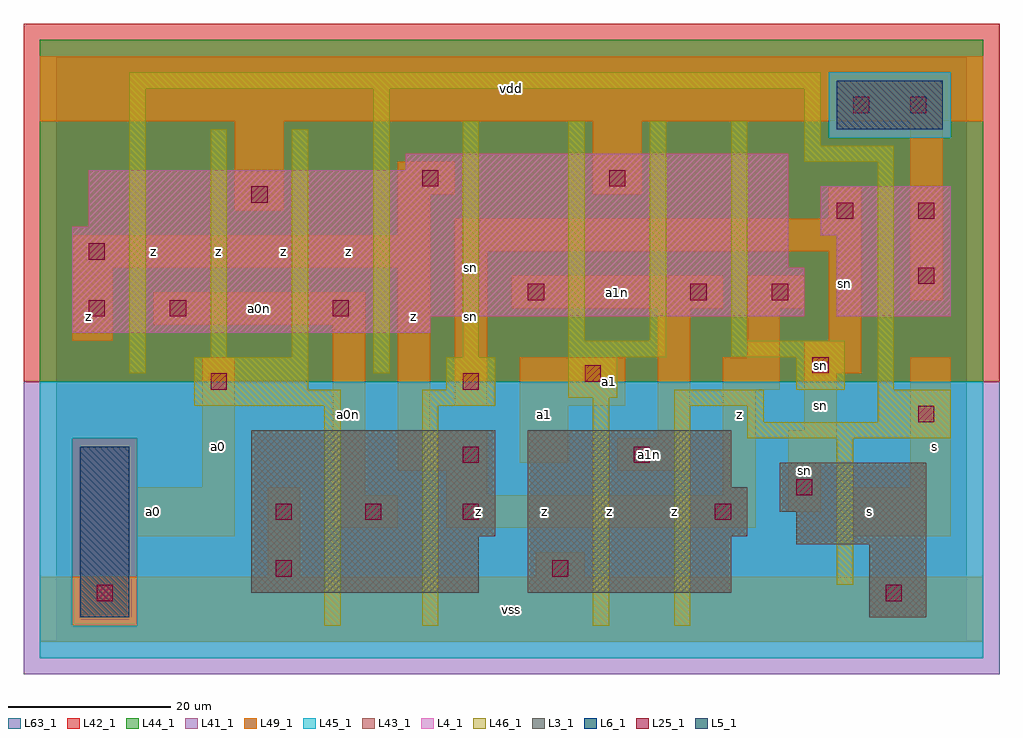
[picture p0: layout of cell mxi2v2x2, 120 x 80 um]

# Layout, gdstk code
import gdstk
lib = gdstk.Library(unit=1e-6, precision=1e-09)
def R(c, l, rs):  # rectangles x0, y0, x1, y1
    for r in rs: c.add(gdstk.rectangle(r[:2], r[2:], *l))
def A(c, l, x, y, w, h, nx, ny, dx, dy):  # array of equal rectangles
    R(c, l, [(x+i*dx, y+j*dy, x+i*dx+w, y+j*dy+h) for i in range(nx) for j in range(ny)])
L3_1 = (3, 1)
L4_1 = (4, 1)
L5_1 = (5, 1)
L6_1 = (6, 1)
L25_1 = (25, 1)
L41_1 = (41, 1)
L42_1 = (42, 1)
L43_1 = (43, 1)
L44_1 = (44, 1)
L45_1 = (45, 1)
L46_1 = (46, 1)
L49_1 = (49, 1)
L63_1 = (63, 1)

mxi2v2x2 = lib.new_cell('mxi2v2x2')
R(mxi2v2x2, L3_1, [(100,3,107,12), (24,6,52,13), (58,6,83,13), (91,12,107,16), (24,13,54,26), (58,13,85,19), (89,16,107,22), (58,19,83,26)])
R(mxi2v2x2, L4_1, [(2,38,46,40), (2,40,92,46), (96,40,110,50), (2,46,90,51), (94,50,110,56), (4,51,90,58), (43,58,90,60)])
R(mxi2v2x2, L5_1, [(96,63,109,69)])
R(mxi2v2x2, L6_1, [(3,3,9,24), (3,3,9,24)])
R(mxi2v2x2, L25_1, [(5,5,7,7), (102,5,104,7), (27,8,29,10), (61,8,63,10), (27,15,29,17), (38,15,40,17), (50,15,52,17), (81,15,83,17), (91,18,93,20), (50,22,52,24), (71,22,73,24), (106,27,108,29), (19,31,21,33), (50,31,52,33), (65,32,67,34), (93,33,95,35), (4,40,6,42), (14,40,16,42), (34,40,36,42), (58,42,60,44), (78,42,80,44), (88,42,90,44), (106,44,108,46), (4,47,6,49), (96,52,98,54), (106,52,108,54), (24,54,26,56), (45,56,47,58), (68,56,70,58), (98,65,100,67), (105,65,107,67)])
R(mxi2v2x2, L41_1, [(-4,-4,116,32)])
R(mxi2v2x2, L42_1, [(-4,32,116,76)])
R(mxi2v2x2, L43_1, [(3,3,9,24), (100,3,107,12), (24,6,52,13), (58,6,83,13), (91,12,107,16), (24,13,54,26), (58,13,85,19), (89,16,107,22), (58,19,83,26), (2,38,46,40), (2,40,92,46), (96,40,110,50), (2,46,90,51), (94,50,110,56), (4,51,90,58), (43,58,90,60), (96,63,109,69)])
R(mxi2v2x2, L44_1, [(2,2,10,25), (-2,32,114,62), (-2,62,95,70), (110,62,114,70), (-2,70,114,74)])
R(mxi2v2x2, L45_1, [(-2,-2,114,2), (-2,2,2,25), (10,2,114,25), (-2,25,114,32), (95,62,110,70)])
A(mxi2v2x2, L46_1, 63, 37, 2, 27, 3, 1, 10, 0)
R(mxi2v2x2, L46_1, [(33,2,35,29), (45,2,47,29), (66,2,68,30), (76,2,78,29), (96,7,98,25), (85,25,110,27), (85,27,87,29), (101,27,110,31), (17,29,35,31), (45,29,54,31), (76,29,87,31), (63,30,69,35), (17,31,31,35), (48,31,54,35), (91,31,97,35), (101,31,103,59), (9,33,11,68), (39,33,41,68), (19,35,21,63), (29,35,31,63), (50,35,52,64), (63,35,75,37), (83,35,97,37), (92,59,103,61), (92,61,94,68), (9,68,94,70)])
R(mxi2v2x2, L49_1, [(-2,0,114,8), (26,8,30,19), (59,8,65,11), (10,13,22,19), (98,13,110,19), (34,14,42,18), (48,14,86,18), (90,16,94,22), (34,18,38,39), (48,18,53,21), (82,18,86,31), (18,19,22,35), (105,19,110,35), (42,21,53,26), (69,21,78,25), (57,22,63,29), (90,22,96,26), (74,25,78,41), (42,26,46,46), (92,26,96,33), (49,29,53,48), (57,29,70,35), (82,31,89,35), (92,33,99,37), (85,35,89,41), (2,37,7,46), (95,37,99,48), (12,39,38,43), (56,41,82,45), (85,41,92,45), (105,42,109,64), (2,46,46,50), (49,48,99,52), (42,50,46,55), (95,52,99,56), (22,53,28,64), (42,55,49,59), (66,55,72,64), (-2,64,114,72)])
R(mxi2v2x2, L63_1, [(0,0,112,72)])
mxi2v2x2.add(gdstk.Label('sn', (51,46), layer=46, texttype=1))
mxi2v2x2.add(gdstk.Label('sn', (94,34), layer=49, texttype=1))
mxi2v2x2.add(gdstk.Label('a0', (12,16), layer=49, texttype=1))
mxi2v2x2.add(gdstk.Label('z', (4,40), layer=49, texttype=1))
mxi2v2x2.add(gdstk.Label('z', (12,48), layer=49, texttype=1))
mxi2v2x2.add(gdstk.Label('a0', (20,24), layer=49, texttype=1))
mxi2v2x2.add(gdstk.Label('a0n', (25,41), layer=49, texttype=1))
mxi2v2x2.add(gdstk.Label('a0n', (36,28), layer=49, texttype=1))
mxi2v2x2.add(gdstk.Label('z', (20,48), layer=49, texttype=1))
mxi2v2x2.add(gdstk.Label('z', (28,48), layer=49, texttype=1))
mxi2v2x2.add(gdstk.Label('z', (36,48), layer=49, texttype=1))
mxi2v2x2.add(gdstk.Label('vss', (56,4), layer=49, texttype=1))
mxi2v2x2.add(gdstk.Label('z', (60,16), layer=49, texttype=1))
mxi2v2x2.add(gdstk.Label('z', (52,16), layer=49, texttype=1))
mxi2v2x2.add(gdstk.Label('a1', (60,28), layer=49, texttype=1))
mxi2v2x2.add(gdstk.Label('z', (44,40), layer=49, texttype=1))
mxi2v2x2.add(gdstk.Label('sn', (51,40), layer=49, texttype=1))
mxi2v2x2.add(gdstk.Label('vdd', (56,68), layer=49, texttype=1))
mxi2v2x2.add(gdstk.Label('z', (76,16), layer=49, texttype=1))
mxi2v2x2.add(gdstk.Label('z', (68,16), layer=49, texttype=1))
mxi2v2x2.add(gdstk.Label('a1n', (73,23), layer=49, texttype=1))
mxi2v2x2.add(gdstk.Label('z', (84,28), layer=49, texttype=1))
mxi2v2x2.add(gdstk.Label('a1', (68,32), layer=49, texttype=1))
mxi2v2x2.add(gdstk.Label('a1n', (69,43), layer=49, texttype=1))
mxi2v2x2.add(gdstk.Label('s', (100,16), layer=49, texttype=1))
mxi2v2x2.add(gdstk.Label('sn', (92,21), layer=49, texttype=1))
mxi2v2x2.add(gdstk.Label('s', (108,24), layer=49, texttype=1))
mxi2v2x2.add(gdstk.Label('sn', (94,29), layer=49, texttype=1))
mxi2v2x2.add(gdstk.Label('sn', (97,44), layer=49, texttype=1))

lib.write_gds('mxi2v2x2.gds')
